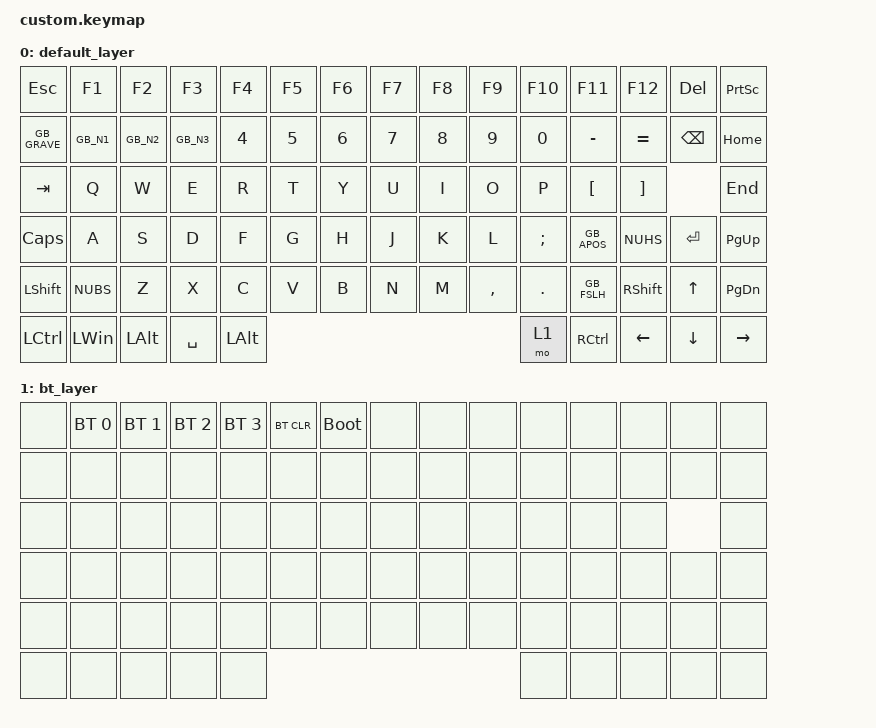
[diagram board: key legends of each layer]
#include <behaviors.dtsi>
#include <dt-bindings/zmk/keys.h>
#include <dt-bindings/zmk/bt.h>
#include <locale/keys_en_gb.h>

/ {
    keymap {
        compatible = "zmk,keymap";

        default_layer {

            bindings = <
                &kp ESC         &kp F1          &kp F2          &kp F3              &kp F4          &kp F5          &kp F6          &kp F7          &kp F8          &kp F9          &kp F10         &kp F11         &kp F12         &kp DEL         &kp PSCRN
                &kp GB_GRAVE    &kp GB_N1       &kp GB_N2       &kp GB_N3           &kp N4          &kp N5          &kp N6          &kp N7          &kp N8          &kp N9          &kp N0          &kp MINUS       &kp EQUAL       &kp BSPC        &kp HOME
                &kp TAB         &kp Q           &kp W           &kp E               &kp R           &kp T           &kp Y           &kp U           &kp I           &kp O           &kp P           &kp LBKT        &kp RBKT                        &kp END
                &kp CAPS        &kp A           &kp S           &kp D               &kp F           &kp G           &kp H           &kp J           &kp K           &kp L           &kp SEMI        &kp GB_APOS       &kp NUHS        &kp RET         &kp PG_UP
                &kp LSHFT       &kp NUBS        &kp Z           &kp X               &kp C           &kp V           &kp B           &kp N           &kp M           &kp COMMA       &kp DOT         &kp GB_FSLH     &kp RSHFT       &kp UP          &kp PG_DN
                &kp LCTRL       &kp LWIN        &kp LALT                                                            &kp SPACE                                       &kp LALT         &mo 1           &kp RCTRL       &kp LEFT        &kp DOWN        &kp RIGHT
            >;
        };

        bt_layer {
            
            bindings = <
                &none   &bt BT_SEL 0    &bt BT_SEL 1    &bt BT_SEL 2    &bt BT_SEL 3    &bt BT_CLR      &bootloader     &none   &none   &none   &none   &none   &none   &none   &none
                &none   &none           &none           &none           &none           &none           &none           &none   &none   &none   &none   &none   &none   &none   &none
                &none   &none           &none           &none           &none           &none           &none           &none   &none   &none   &none   &none   &none           &none
                &none   &none           &none           &none           &none           &none           &none           &none   &none   &none   &none   &none   &none   &none   &none
                &none   &none           &none           &none           &none           &none           &none           &none   &none   &none   &none   &none   &none   &none   &none
                &none   &none           &none                                                           &none                           &none   &none   &none   &none   &none   &none
            >;
        };
    };
};
